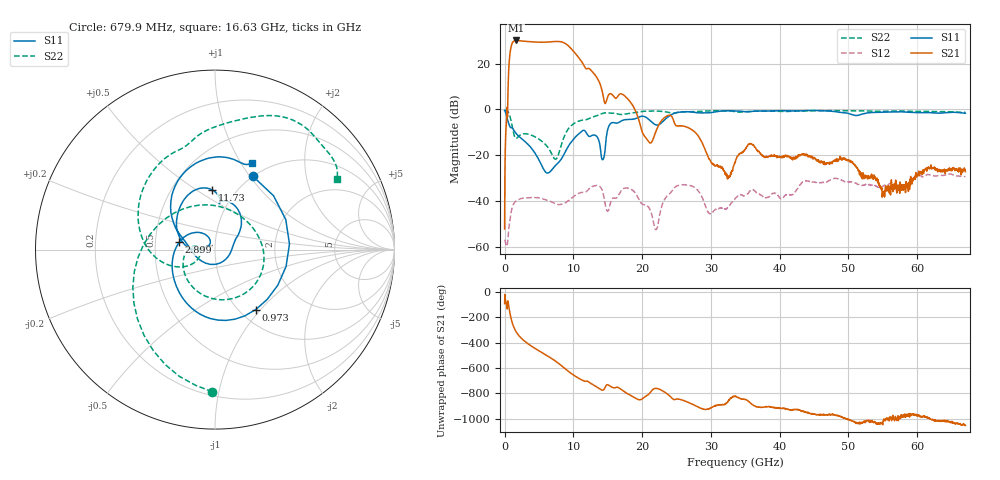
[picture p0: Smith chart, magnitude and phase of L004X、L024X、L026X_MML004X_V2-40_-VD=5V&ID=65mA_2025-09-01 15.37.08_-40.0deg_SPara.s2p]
!Keysight Technologies,N5247B,MY63057157,A.17.10.07
!Date: Monday, September 01, 2025 15:44:06
!Correction: S11(C  2-Port  )
!S21(C  2-Port  )
!S12(C  2-Port  )
!S22(C  2-Port  )
!S2P File: Measurements: S11, S21, S12, S22:
# Hz S  dB  R 50
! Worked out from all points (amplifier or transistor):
!   1601 points, 10 MHz to 67 GHz, reference 50 ohm
!   highest |S21| = 30.2 dB at 1.685 GHz (marker M1)
!   |S21| within 3 dB of that: 937 MHz to 9.498 GHz (8.561 GHz wide, 164 % of centre)
!   unconditionally stable (mu >= 1): start of sweep to end of sweep
!   at 11.15 GHz: K = 1.88, MAG = 23.3 dB, |S12| = -36.2 dB
!   at 33.51 GHz: K = 17.51, MAG = -7.6 dB, |S12| = -39.0 dB
!   at 67 GHz: K = 25.17, MAG = -16.0 dB, |S12| = -29.3 dB
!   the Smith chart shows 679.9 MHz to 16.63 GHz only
!   S11 on the Smith chart (normalised r, x): 679.9 MHz: 1.00, +1.03; 973 MHz: 1.18, -0.94; 2.899 GHz: 0.67, +0.06; 11.73 GHz: 0.77, +0.58; 16.63 GHz: 0.84, +1.11
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1e7  -0.47 -26.6  -52.18 -93.7  -56.88 -44.5  -0.19 -12.3
6.799e8  -6.74 62.8  20.94 -135.2  -50.54 -137.9  -2.03 -91.1
9.729812e8  -7.87 -55.8  27.66 145.5  -44.72 158.4  -5.33 -146.5
1.307931e9  -8.86 -107.3  29.81 86.8  -41.37 115.3  -10.30 138.0
1.68475e9  -10.48 -135.3  30.17 45.3  -40.05 84.4  -12.62 58.4
2.187175e9  -12.00 -161.8  30.05 8.8  -39.15 61.5  -11.34 -3.1
2.898944e9  -13.82 168.6  29.84 -27.5  -38.73 39.6  -10.60 -46.6
3.820056e9  -16.59 140.1  29.62 -64.3  -38.49 20.6  -11.12 -87.6
4.824906e9  -21.06 119.8  29.46 -99.1  -38.54 4.4  -12.61 -128.0
5.955362e9  -27.34 129.9  29.42 -135.5  -39.39 -8.6  -15.32 -169.8
7.169556e9  -25.34 164.4  29.68 -176.5  -40.83 -15.2  -21.20 175.4
7.965062e9  -22.82 173.1  29.70 152.1  -41.55 -10.5  -18.47 -149.2
8.886175e9  -18.19 179.5  28.74 111.3  -40.68 -4.2  -10.45 -166.4
9.932894e9  -13.30 158.8  25.79 68.0  -38.29 -5.0  -6.48 154.6
1.118896e10  -9.58 119.7  21.04 27.1  -36.23 -20.5  -4.73 118.5
1.173325e10  -9.52 93.1  18.23 16.0  -36.19 -25.0  -4.53 107.6
1.663189e10  -5.64 66.9  6.46 -36.3  -37.19 -55.1  -2.09 30.0
2.236791e10  -6.71 -2.7  -7.10 -43.9  -49.26 25.9  -0.73 -20.2
3.3505e10  -0.65 -84.1  -23.32 -104.9  -39.05 -122.6  -0.94 -78.5
4.468396e10  -0.42 -130.1  -21.02 119.9  -31.52 165.1  -0.56 -114.8
5.586291e10  -1.12 -157.5  -33.58 79.8  -32.60 112.4  -0.72 -149.5
6.7e10  -1.65 173.3  -27.17 28.0  -29.26 51.1  -1.19 175.5
